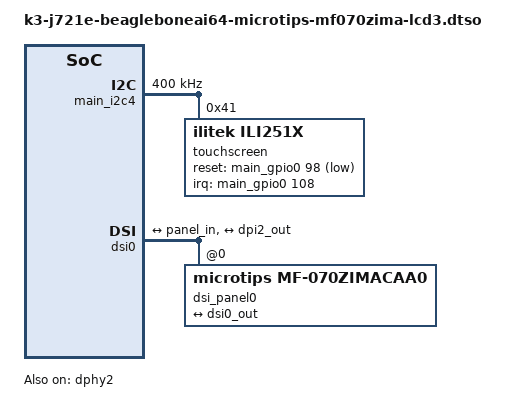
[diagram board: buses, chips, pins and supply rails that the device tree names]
// SPDX-License-Identifier: GPL-2.0-or-later OR MIT
/**
 * DT Overlay for Microtips SK-LCD3 interfaced with DSI on
 * J721E based BeagleBone AI-64 (BBAI-64) platform.
 *
 * BBAI-64: https://www.beagleboard.org/boards/beaglebone-ai-64
 *
 * Copyright (C) 2024 Texas Instruments Incorporated - https://www.ti.com/
 */

/dts-v1/;
/plugin/;

#include <dt-bindings/gpio/gpio.h>
#include <dt-bindings/interrupt-controller/irq.h>

#include "k3-pinctrl.h"

&main_pmx0 {
	dsi_main_i2c4_pins: dsi-main-i2c4-pins {
		pinctrl-single,pins = <
			J721E_IOPAD(0xa8, PIN_INPUT_PULLUP, 2) /* (AD19) PRG1_MDIO0_MDIO.I2C4_SCL */
			J721E_IOPAD(0xac, PIN_INPUT_PULLUP, 2) /* (AD18) PRG1_MDIO0_MDC.I2C4_SDA */
		>;
	};

	dsi0_gpio_pins_default: dsi0-gpio-default-pins {
		pinctrl-single,pins = <
			J721E_IOPAD(0x18c, PIN_OUTPUT, 7) /* (V23) RGMII6_RX_CTL.GPIO0_98 */
			J721E_IOPAD(0x1b4, PIN_INPUT, 7) /* (W25) RGMII6_RD0.GPIO0_108 */
		>;
	};
};

&main_i2c4 {
	clock-frequency = <400000>;
	pinctrl-names = "default";
	pinctrl-0 = <&dsi_main_i2c4_pins>;
	#address-cells = <1>;
	#size-cells = <0>;

	touchscreen@41 {
		compatible = "ilitek,ili251x";
		reg = <0x41>;
		pinctrl-names = "default";
		pinctrl-0 = <&dsi0_gpio_pins_default>;
		reset-gpios = <&main_gpio0 98 GPIO_ACTIVE_LOW>;
		interrupt-parent = <&main_gpio0>;
		interrupts = <108 IRQ_TYPE_EDGE_FALLING>;
	};
};

&dss_ports {
	#address-cells = <1>;
	#size-cells = <0>;

	port@2 {
		reg = <2>;

		dpi2_out: endpoint {
			remote-endpoint = <&dsi0_in>;
		};
	};
};

&dphy2 {
	status = "okay";
};

&dsi0 {
	status = "okay";
	#address-cells = <1>;
	#size-cells = <0>;

	ports {
		#address-cells = <1>;
		#size-cells = <0>;

		port@0 {
			reg = <0>;
			dsi0_out: endpoint {
				remote-endpoint = <&panel_in>;
			};
		};

		port@1 {
			reg = <1>;
			dsi0_in: endpoint {
				remote-endpoint = <&dpi2_out>;
			};
		};
	};

	dsi_panel0: panel-dsi@0 {
		compatible = "microtips,mf-070zimacaa0", "ilitek,ili9881c";
		reg = <0>;

		port {
			panel_in: endpoint {
				remote-endpoint = <&dsi0_out>;
			};
		};
	};
};
